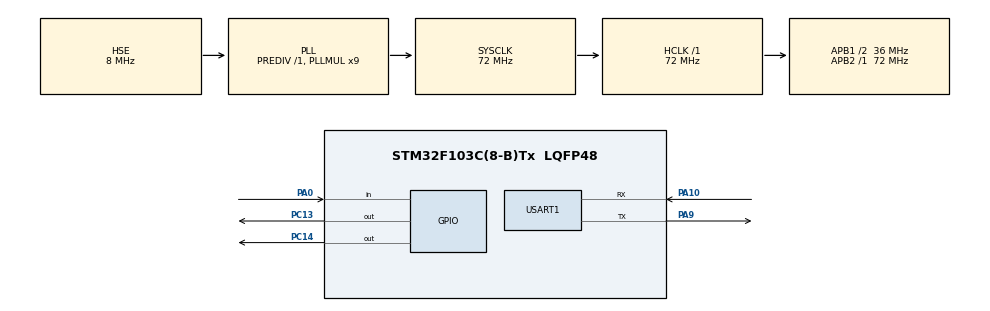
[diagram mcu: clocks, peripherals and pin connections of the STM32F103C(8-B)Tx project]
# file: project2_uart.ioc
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Mcu.Family=STM32F1
Mcu.Name=STM32F103C(8-B)Tx
Mcu.Package=LQFP48
NVIC.PriorityGroup=NVIC_PRIORITYGROUP_4
NVIC.USART1_IRQn=true\:1\:0\:true\:false\:true\:true\:true\:true
PA0-WKUP.GPIO_PuPd=GPIO_PULLUP
PA0-WKUP.Signal=GPIO_Input
PA10.Mode=Asynchronous
PA10.Signal=USART1_RX
PA13.Mode=Serial_Wire
PA13.Signal=SYS_JTMS-SWDIO
PA14.Mode=Serial_Wire
PA14.Signal=SYS_JTCK-SWCLK
PA9.Mode=Asynchronous
PA9.Signal=USART1_TX
PC13-TAMPER-RTC.Signal=GPIO_Output
PC14-OSC32_IN.Signal=GPIO_Output
PD0-OSC_IN.Mode=HSE-External-Oscillator
PD0-OSC_IN.Signal=RCC_OSC_IN
PD1-OSC_OUT.Mode=HSE-External-Oscillator
PD1-OSC_OUT.Signal=RCC_OSC_OUT
ProjectManager.HeapSize=0x200
ProjectManager.StackSize=0x400
ProjectManager.TargetToolchain=MDK-ARM V5.32
RCC.AHBFreq_Value=72000000
RCC.APB1CLKDivider=RCC_HCLK_DIV2
RCC.APB1Freq_Value=36000000
RCC.APB1TimFreq_Value=72000000
RCC.APB2Freq_Value=72000000
RCC.APB2TimFreq_Value=72000000
RCC.HCLKFreq_Value=72000000
RCC.PLLMUL=RCC_PLL_MUL9
RCC.PLLSourceVirtual=RCC_PLLSOURCE_HSE
RCC.SYSCLKFreq_VALUE=72000000
RCC.SYSCLKSource=RCC_SYSCLKSOURCE_PLLCLK
RCC.USBFreq_Value=72000000
USART1.VirtualMode=VM_ASYNC
board=custom

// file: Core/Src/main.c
/* USER CODE BEGIN Header */
/**
  ******************************************************************************
  * @file           : main.c
  * @brief          : Main program body
  ******************************************************************************
  * @attention
  *
  * Copyright (c) 2024 STMicroelectronics.
  * All rights reserved.
  *
  * This software is licensed under terms that can be found in the LICENSE file
  * in the root directory of this software component.
  * If no LICENSE file comes with this software, it is provided AS-IS.
  *
  ******************************************************************************
  */
/* USER CODE END Header */
#include "main.h"

/* USER CODE BEGIN Includes */
#include "button.h"
#include "string.h"
/* USER CODE END Includes */

UART_HandleTypeDef huart1;

void SystemClock_Config(void);
static void MX_GPIO_Init(void);
static void MX_USART1_UART_Init(void);

/* USER CODE BEGIN 0 */
//char buff[50] = "button:ON,button:OFF";
char buff[50];
char st1[]="successful";
char st2[]=" failed";
char st3[]="error package";
char button_on[] = "button:ON";
char button_off[] = "button:OFF";
uint16_t time_out = 2000;
uint8_t t=0;
uint8_t uart_index = 0;
uint8_t uart_flag = 0;
char rx;
void HAL_UART_RxCpltCallback(UART_HandleTypeDef *huart)
{
	if (rx == '\n')
	{
		buff[uart_index] = '\0';
		uart_flag = 1;
	}
	else
	{
		buff[uart_index++] = rx;
	}
	HAL_UART_Receive_IT (&huart1 ,(uint8_t *)&rx, 1);
}
/* USER CODE END 0 */

int main(void)
{

  /* MCU Configuration--------------------------------------------------------*/

  /* Reset of all peripherals, Initializes the Flash interface and the Systick. */
  HAL_Init();

  /* Configure the system clock */
  SystemClock_Config();

  /* Initialize all configured peripherals */
  MX_GPIO_Init();
  MX_USART1_UART_Init();
  /* USER CODE BEGIN 2 */
	HAL_UART_Receive_IT (&huart1 ,(uint8_t *)&rx, 1);

  /* USER CODE END 2 */

  /* Infinite loop */
  while (1)
  {

    /* USER CODE BEGIN 3 */
		HAL_GPIO_WritePin (GPIOC,GPIO_PIN_14,1);
		if (uart_flag == 1)
		{
			if (strcmp (buff, button_on )==0)
			{
				if (HAL_UART_Transmit (&huart1 ,(uint8_t*)st1, strlen(st1),time_out) == HAL_OK)
				{
					t=1;
				}
				else
				{
					HAL_UART_Transmit (&huart1 ,(uint8_t*)st2, strlen(st2),1000);
					t = 0;
					HAL_UART_Receive_IT (&huart1 ,(uint8_t *)&rx, 1);
				}
				memset(buff,'0',uart_index );
				uart_index = 0;
				uart_flag = 0;
				while (t==1)
				{
					button_handle ();
					if (strcmp (buff, button_off)==0)
					{
						t = 0;
						break;
					}
				}
			}
			else
			{
				if (strcmp (buff, button_off)==0)
				{
				}
				else
				{
					if (HAL_UART_Transmit (&huart1 ,(uint8_t*)st3, strlen(st3),time_out) != HAL_OK)
					{
						HAL_UART_Transmit (&huart1 ,(uint8_t*)st2, strlen(st2),1000);
						HAL_UART_Receive_IT (&huart1 ,(uint8_t *)&rx, 1);
					}
				}
			memset(buff,'0',uart_index );
			uart_index = 0;
			uart_flag = 0;
			}
		}
  }
  /* USER CODE END 3 */
}

void SystemClock_Config(void)
{
  RCC_OscInitTypeDef RCC_OscInitStruct = {0};
  RCC_ClkInitTypeDef RCC_ClkInitStruct = {0};

  /** Initializes the RCC Oscillators according to the specified parameters
  * in the RCC_OscInitTypeDef structure.
  */
  RCC_OscInitStruct.OscillatorType = RCC_OSCILLATORTYPE_HSE;
  RCC_OscInitStruct.HSEState = RCC_HSE_ON;
  RCC_OscInitStruct.HSEPredivValue = RCC_HSE_PREDIV_DIV1;
  RCC_OscInitStruct.HSIState = RCC_HSI_ON;
  RCC_OscInitStruct.PLL.PLLState = RCC_PLL_ON;
  RCC_OscInitStruct.PLL.PLLSource = RCC_PLLSOURCE_HSE;
  RCC_OscInitStruct.PLL.PLLMUL = RCC_PLL_MUL9;
  if (HAL_RCC_OscConfig(&RCC_OscInitStruct) != HAL_OK)
  {
    Error_Handler();
  }

  /** Initializes the CPU, AHB and APB buses clocks
  */
  RCC_ClkInitStruct.ClockType = RCC_CLOCKTYPE_HCLK|RCC_CLOCKTYPE_SYSCLK
                              |RCC_CLOCKTYPE_PCLK1|RCC_CLOCKTYPE_PCLK2;
  RCC_ClkInitStruct.SYSCLKSource = RCC_SYSCLKSOURCE_PLLCLK;
  RCC_ClkInitStruct.AHBCLKDivider = RCC_SYSCLK_DIV1;
  RCC_ClkInitStruct.APB1CLKDivider = RCC_HCLK_DIV2;
  RCC_ClkInitStruct.APB2CLKDivider = RCC_HCLK_DIV1;

  if (HAL_RCC_ClockConfig(&RCC_ClkInitStruct, FLASH_LATENCY_2) != HAL_OK)
  {
    Error_Handler();
  }
}

static void MX_USART1_UART_Init(void)
{

  huart1.Instance = USART1;
  huart1.Init.BaudRate = 115200;
  huart1.Init.WordLength = UART_WORDLENGTH_8B;
  huart1.Init.StopBits = UART_STOPBITS_1;
  huart1.Init.Parity = UART_PARITY_NONE;
  huart1.Init.Mode = UART_MODE_TX_RX;
  huart1.Init.HwFlowCtl = UART_HWCONTROL_NONE;
  huart1.Init.OverSampling = UART_OVERSAMPLING_16;
  if (HAL_UART_Init(&huart1) != HAL_OK)
  {
    Error_Handler();
  }

}

static void MX_GPIO_Init(void)
{
  GPIO_InitTypeDef GPIO_InitStruct = {0};

  /* GPIO Ports Clock Enable */
  __HAL_RCC_GPIOC_CLK_ENABLE();
  __HAL_RCC_GPIOD_CLK_ENABLE();
  __HAL_RCC_GPIOA_CLK_ENABLE();

  /*Configure GPIO pin Output Level */
  HAL_GPIO_WritePin(GPIOC, GPIO_PIN_13|GPIO_PIN_14, GPIO_PIN_RESET);

  /*Configure GPIO pins : PC13 PC14 */
  GPIO_InitStruct.Pin = GPIO_PIN_13|GPIO_PIN_14;
  GPIO_InitStruct.Mode = GPIO_MODE_OUTPUT_PP;
  GPIO_InitStruct.Pull = GPIO_NOPULL;
  GPIO_InitStruct.Speed = GPIO_SPEED_FREQ_LOW;
  HAL_GPIO_Init(GPIOC, &GPIO_InitStruct);

  /*Configure GPIO pin : PA0 */
  GPIO_InitStruct.Pin = GPIO_PIN_0;
  GPIO_InitStruct.Mode = GPIO_MODE_INPUT;
  GPIO_InitStruct.Pull = GPIO_PULLUP;
  HAL_GPIO_Init(GPIOA, &GPIO_InitStruct);

}

void Error_Handler(void)
{
  __disable_irq();
  while (1)
  {
  }
}
